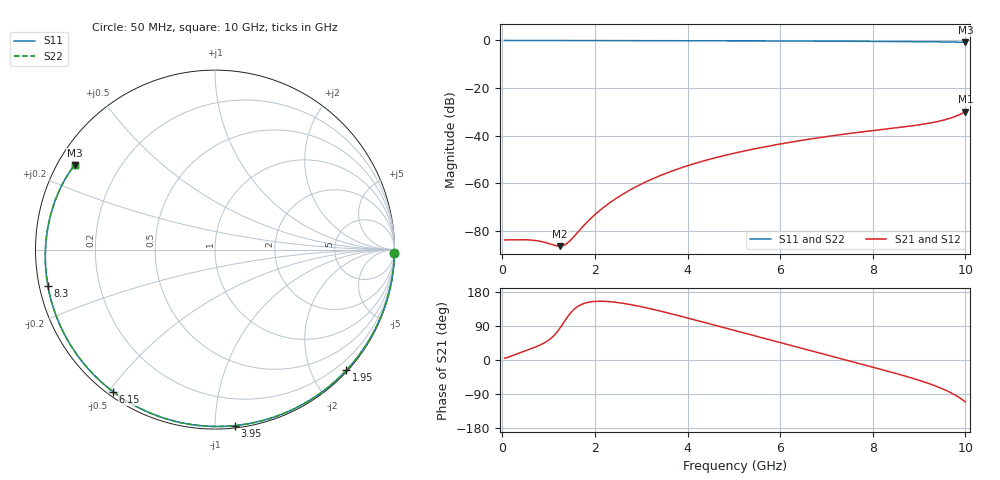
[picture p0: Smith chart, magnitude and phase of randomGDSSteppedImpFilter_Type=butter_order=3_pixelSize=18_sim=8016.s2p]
! freq	dB(S11)	phase(S11)	dB(S12)	phase(S12)
!  dB(S21)	phase(S21)	dB(S22)	phase(S22)
!S-par simulation data
#  GHz  S  DB  R 50
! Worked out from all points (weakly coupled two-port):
!   200 points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, 50 MHz to 10 GHz, reference 50 ohm
!   highest |S21| = -29.97 dB at 10 GHz (marker M1); lowest = -86.6 dB at 1.25 GHz (marker M2)
!   lowest |S11| = -0.8 dB at 10 GHz (marker M3), VSWR 22.05, Z = 2.44 + j13.9 ohm
!   |S11| at or under -10 dB: nowhere
!   |S22| runs from -0.8 to 0.0 dB; largest |S21 - S12| = 0
!   S11 on the Smith chart (normalised r, x): 50 MHz: open; 1.95 GHz: 0.02, -2.56; 3.95 GHz: 0.01, -1.12; 6.15 GHz: 0.02, -0.51; 8.3 GHz: 0.02, -0.11; 10 GHz: 0.05, +0.28
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0.05  -0.00 -1.1  -83.93 5.0  -83.93 5.0  -0.00 -1.1
0.65  -0.01 -14.4  -84.04 31.2  -84.04 31.2  -0.01 -14.4
1.25  -0.03 -27.6  -86.56 84.9  -86.56 84.9  -0.03 -27.6
1.65  -0.05 -36.2  -80.24 142.7  -80.24 142.7  -0.05 -36.2
1.75  -0.05 -38.3  -78.08 148.5  -78.08 148.5  -0.05 -38.3
1.95  -0.05 -42.6  -74.17 154.0  -74.17 154.0  -0.05 -42.6
2.25  -0.06 -48.9  -69.30 154.6  -69.30 154.6  -0.06 -49.0
2.6  -0.07 -56.2  -64.71 149.7  -64.71 149.7  -0.07 -56.3
3  -0.08 -64.5  -60.45 140.6  -60.45 140.6  -0.08 -64.5
3.4  -0.10 -72.6  -56.94 129.5  -56.94 129.5  -0.10 -72.6
3.95  -0.11 -83.5  -53.02 112.5  -53.02 112.5  -0.11 -83.5
4.5  -0.14 -94.2  -49.87 94.7  -49.87 94.7  -0.14 -94.2
5.05  -0.16 -104.8  -47.26 76.8  -47.26 76.8  -0.16 -104.8
6.15  -0.23 -125.6  -43.06 41.1  -43.06 41.1  -0.23 -125.6
6.7  -0.27 -136.0  -41.32 23.3  -41.32 23.3  -0.27 -136.0
7.55  -0.34 -152.5  -39.01 -4.2  -39.01 -4.2  -0.34 -152.6
8.3  -0.42 -167.9  -37.24 -28.8  -37.24 -28.8  -0.42 -167.9
8.35  -0.43 -168.9  -37.13 -30.4  -37.13 -30.4  -0.43 -169.0
8.9  -0.50 178.9  -35.78 -49.7  -35.78 -49.7  -0.50 178.8
9.4  -0.59 166.7  -34.12 -70.7  -34.12 -70.7  -0.59 166.6
9.75  -0.67 156.9  -32.20 -90.6  -32.20 -90.6  -0.68 156.8
10  -0.79 148.9  -29.97 -110.7  -29.97 -110.7  -0.79 148.8
